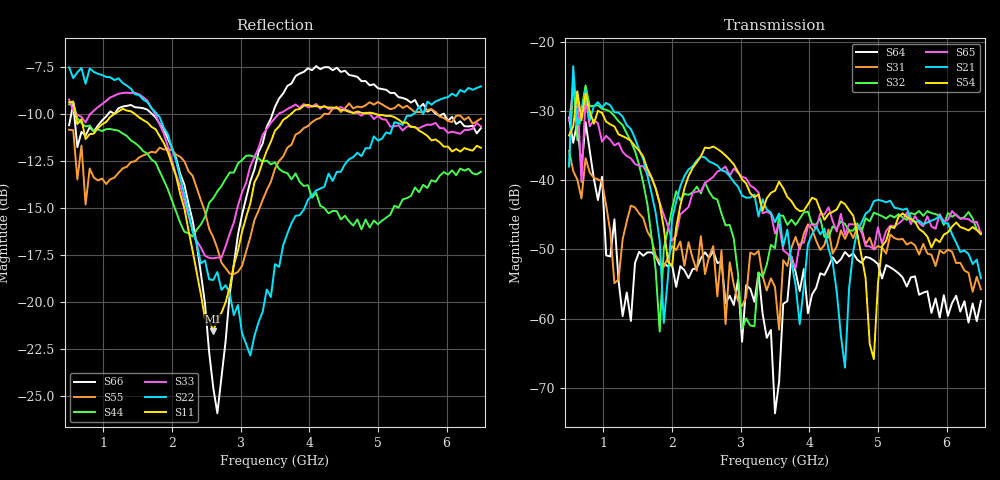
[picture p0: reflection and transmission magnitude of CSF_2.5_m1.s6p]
!Keysight Technologies,M9804A,MY58100912,A.14.10.03
!Date: Thursday, April 27, 2023 10:28:33
!Correction: S11(C  6-Port  )
!S12(C  6-Port  )
!S13(C  6-Port  )
!S14(C  6-Port  )
!S15(C  6-Port  )
!S16(C  6-Port  )
!S21(C  6-Port  )
!S22(C  6-Port  )
!S23(C  6-Port  )
!S24(C  6-Port  )
!S25(C  6-Port  )
!S26(C  6-Port  )
!S31(C  6-Port  )
!S32(C  6-Port  )
!S33(C  6-Port  )
!S34(C  6-Port  )
!S35(C  6-Port  )
!S36(C  6-Port  )
!S41(C  6-Port  )
!S42(C  6-Port  )
!S43(C  6-Port  )
!S44(C  6-Port  )
!S45(C  6-Port  )
!S46(C  6-Port  )
!S51(C  6-Port  )
!S52(C  6-Port  )
!S53(C  6-Port  )
!S54(C  6-Port  )
!S55(C  6-Port  )
!S56(C  6-Port  )
!S61(C  6-Port  )
!S62(C  6-Port  )
!S63(C  6-Port  )
!S64(C  6-Port  )
!S65(C  6-Port  )
!S66(C  6-Port  )
!S6P File: Measurement: :
# Hz S  RI  R 50
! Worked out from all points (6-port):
!   101 points, 500 MHz to 6.5 GHz, reference 50 ohm
!   strongest paths, dB at 500 MHz, 2 GHz, 3.5 GHz, 5 GHz, 6.5 GHz:
!     S54: -33.6, -52.4, -41.5, -55.0, -47.8
!     S21: -38.0, -45.6, -46.1, -42.8, -54.2
!     S65: -31.4, -48.8, -47.7, -46.8, -47.7
!     S32: -38.0, -44.1, -49.8, -45.0, -47.6
!     S31: -35.8, -49.5, -55.4, -49.5, -55.8
!     S64: -31.0, -52.2, -73.7, -52.1, -57.5
!   lowest |S11| = -21.5 dB at 2.6 GHz (marker M1), VSWR 1.18, Z = 42.6 + j2.3 ohm
!   |S11| at or under -10 dB: 594.3 MHz to 1.15 GHz (555.6 MHz wide, 63.7 % of centre); 1.468 GHz to 3.725 GHz (2.257 GHz wide, 86.9 % of centre); 4.987 GHz to end of sweep
